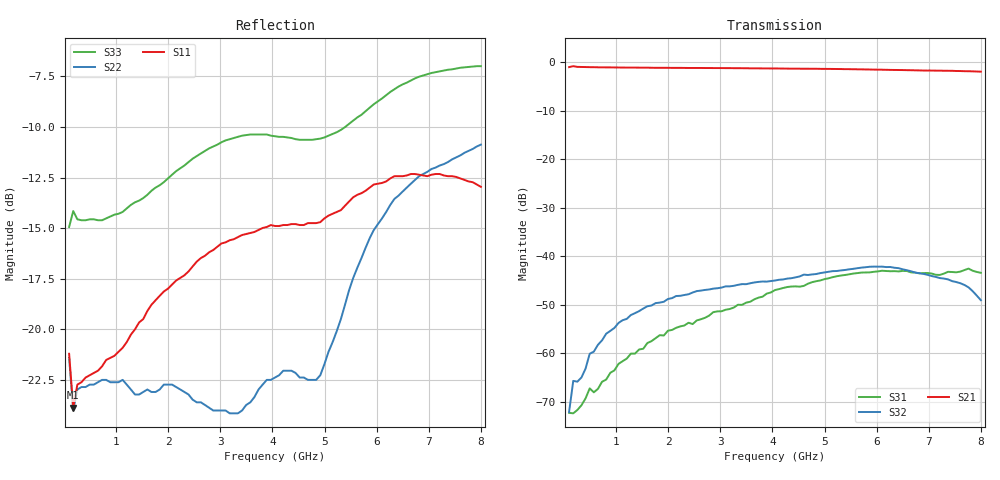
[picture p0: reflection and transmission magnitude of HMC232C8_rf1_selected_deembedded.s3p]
!Hittite Microwave Corporation
!12 Elizabeth Drive
!Chelmsford, MA 01824
!Tel: 978-250-3343
!Fax: 978-250-3373
!Device: HMC232C8, DC - 8 GHz GaAs MMIC High-Isolation SPDT Switch in 8-lead non-hermetic SMT ceramic package
!Misc: Port1=RFC, Port2= RF1, Port3=RF2, RF1 ON, Control: -5VDC
# MHZ S MA R 50
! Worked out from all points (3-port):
!   101 points, 100 MHz to 8 GHz, reference 50 ohm
!   strongest paths, dB at 100 MHz, 2.075 GHz, 4.05 GHz, 6.025 GHz, 8 GHz:
!     S21: -1.0, -1.2, -1.3, -1.6, -2.0
!     S32: -72.1, -48.7, -45.0, -42.2, -49.1
!     S31: -72.3, -55.2, -47.0, -43.1, -43.4
!   lowest |S11| = -23.9 dB at 179 MHz (marker M1), VSWR 1.14, Z = 56.8 + j0.732 ohm
!   |S11| at or under -10 dB: start of sweep to end of sweep
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100  0.087 -7.1  0.89 -2.5  0.0002135 -44.7
     0.888 -2.5  0.085 -6.6  0.0002205 115.7
     0.0002426 13.0  0.0002494 94.6  0.179 179.4
179  0.064 5.8  0.909 -5.8  0.0003018 4.1
     0.908 -5.8  0.063 6.8  0.0003772 68.1
     0.00024 7.0  0.0005179 55.0  0.196 169.8
258  0.073 -0.7  0.896 -7.6  0.0002266 -46.0
     0.893 -7.6  0.071 -0.4  0.0004385 60.2
     0.0002596 -76.0  0.0005087 55.1  0.187 168.5
653  0.079 -4.6  0.886 -18.0  0.000441 -140.5
     0.884 -18.0  0.074 -2.8  0.001237 91.1
     0.0004288 -138.0  0.00122 91.7  0.186 152.8
1285  0.097 -8.7  0.88 -34.4  0.0009756 -175.1
      0.878 -34.3  0.071 5.4  0.002497 93.6
      0.0009898 -175.3  0.002473 93.5  0.203 127.4
2707  0.152 -49.2  0.871 -71.2  0.002323 133.8
      0.869 -71.1  0.065 46.5  0.004472 86.0
      0.002315 133.3  0.004487 85.5  0.276 88.2
4050  0.18 -111.3  0.861 -106.7  0.004486 97.8
      0.86 -106.6  0.076 98.3  0.005619 61.8
      0.004473 97.4  0.005612 62.1  0.3 64.5
4919  0.184 -121.2  0.853 -129.9  0.005645 69.7
      0.852 -129.9  0.077 47.9  0.006688 48.8
      0.005619 70.0  0.006691 48.9  0.296 39.5
6104  0.23 -138.4  0.836 -162.2  0.007045 32.9
      0.835 -162.2  0.188 -2.0  0.007794 37.9
      0.007073 33.1  0.007798 38.1  0.372 5.8
8000  0.225 117.8  0.798 144.3  0.006808 8.0
      0.797 144.4  0.286 8.2  0.003493 44.8
      0.006734 7.2  0.003517 45.6  0.447 -21.2
